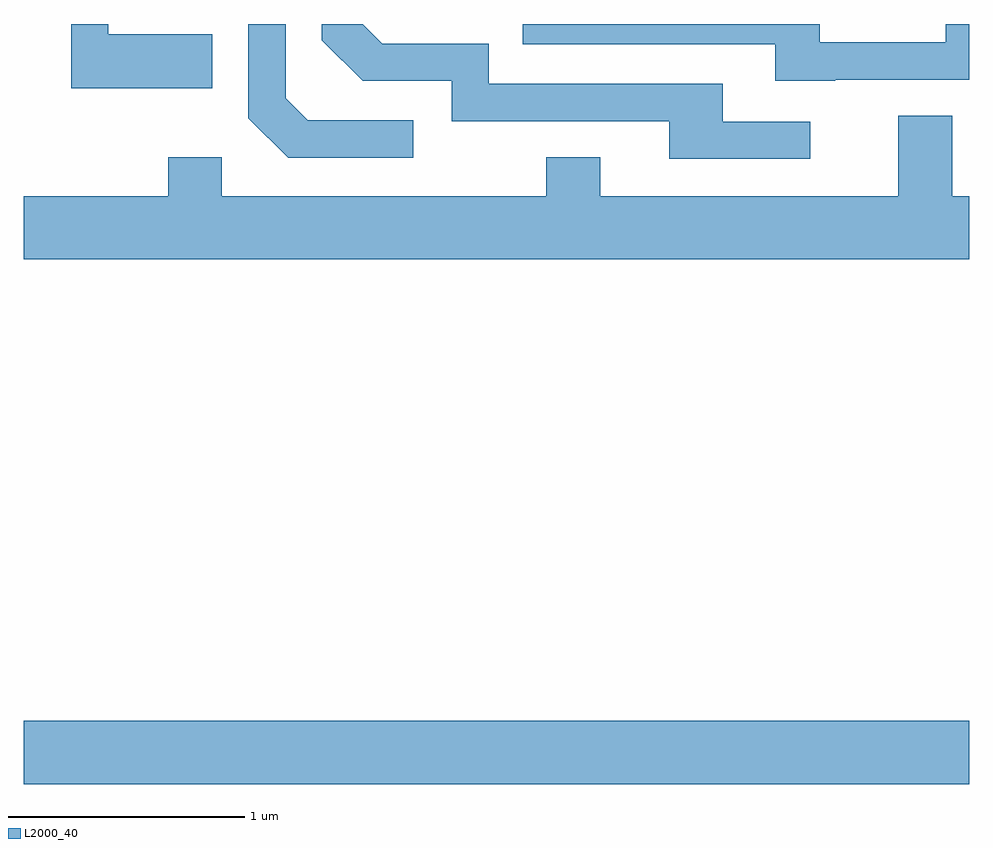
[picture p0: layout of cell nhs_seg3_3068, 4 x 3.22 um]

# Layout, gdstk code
import gdstk
lib = gdstk.Library(unit=1e-6, precision=1e-09)
def R(c, l, rs):  # rectangles x0, y0, x1, y1
    for r in rs: c.add(gdstk.rectangle(r[:2], r[2:], *l))
def P(c, l, *ps):  # polygons
    for p in ps: c.add(gdstk.Polygon(p, *l))
L2000_40 = (2000, 40)

nhs_seg3_3068 = lib.new_cell('nhs_seg3_3068')
R(nhs_seg3_3068, L2000_40, [(275.611,1132.676,279.611,1132.944)])
P(nhs_seg3_3068, L2000_40, [(277.258,1135.484),(276.812,1135.484),(276.719,1135.577),(276.719,1135.892),(276.561,1135.892),(276.561,1135.494),(276.729,1135.326),(277.258,1135.326)],
  [(278.938,1135.479),(278.569,1135.479),(278.569,1135.639),(277.579,1135.639),(277.579,1135.809),(277.127,1135.809),(277.044,1135.892),(276.871,1135.892),(276.871,1135.824),(277.044,1135.651),(277.421,1135.651),(277.421,1135.481),(278.341,1135.481),(278.341,1135.321),(278.938,1135.321)],
  [(279.045,1135.656),(279.611,1135.656),(279.611,1135.892),(279.511,1135.892),(279.511,1135.814),(278.979,1135.814),(278.979,1135.892),(277.723,1135.892),(277.723,1135.806),(278.791,1135.806),(278.791,1135.651),(279.045,1135.651)],
  [(276.409,1135.849),(275.969,1135.849),(275.969,1135.892),(275.811,1135.892),(275.811,1135.621),(276.409,1135.621)],
  [(279.611,1135.164),(279.539,1135.164),(279.539,1135.504),(279.311,1135.504),(279.311,1135.164),(278.049,1135.164),(278.049,1135.329),(277.821,1135.329),(277.821,1135.164),(276.449,1135.164),(276.449,1135.329),(276.221,1135.329),(276.221,1135.164),(275.611,1135.164),(275.611,1134.896),(279.611,1134.896)])

lib.write_gds('nhs_seg3_3068.gds')
